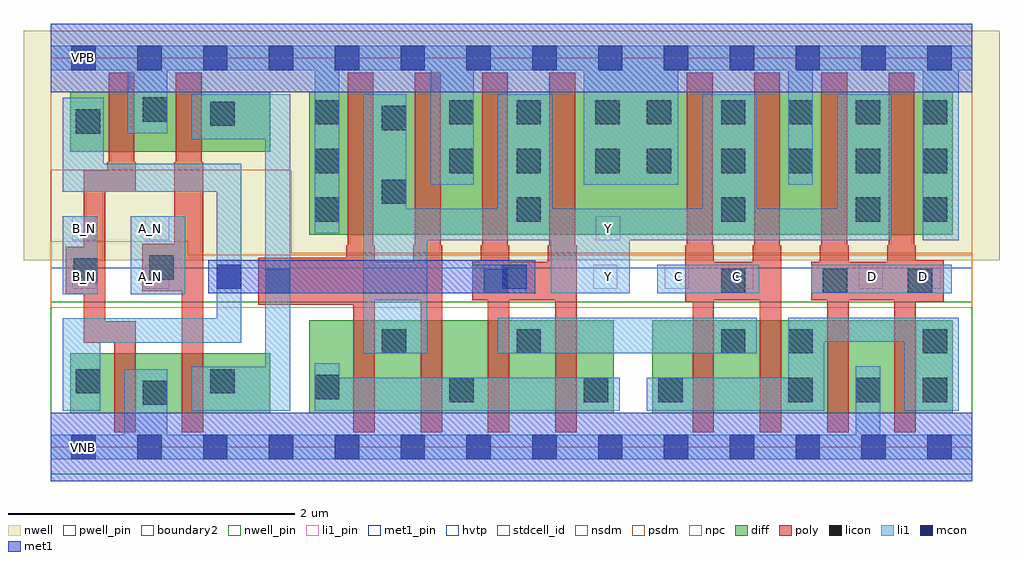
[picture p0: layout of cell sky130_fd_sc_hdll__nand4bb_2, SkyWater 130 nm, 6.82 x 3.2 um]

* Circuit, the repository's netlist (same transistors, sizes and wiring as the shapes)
* Copyright 2020 The SkyWater PDK Authors
*
* Licensed under the Apache License, Version 2.0 (the "License");
* you may not use this file except in compliance with the License.
* You may obtain a copy of the License at
*
*     https://www.apache.org/licenses/LICENSE-2.0
*
* Unless required by applicable law or agreed to in writing, software
* distributed under the License is distributed on an "AS IS" BASIS,
* WITHOUT WARRANTIES OR CONDITIONS OF ANY KIND, either express or implied.
* See the License for the specific language governing permissions and
* limitations under the License.
*
* SPDX-License-Identifier: Apache-2.0

.SUBCKT sky130_fd_sc_hdll__nand4bb_2 A_N B_N C D VGND VNB VPB VPWR Y
*.PININFO A_N:I B_N:I C:I D:I VGND:I VNB:I VPB:I VPWR:I Y:O
MMP0 Y A VPWR VPB sky130_fd_pr__pfet_01v8_hvt m=2 w=1.0U l=0.18U mult=1 sa=0.265
+ sb=0.265 sd=0.28 area=0.063 perim=1.14
MMP1 Y B VPWR VPB sky130_fd_pr__pfet_01v8_hvt m=2 w=1.0U l=0.18U mult=1 sa=0.265
+ sb=0.265 sd=0.28 area=0.063 perim=1.14
MMP2 Y C VPWR VPB sky130_fd_pr__pfet_01v8_hvt m=2 w=1.0U l=0.18U mult=1 sa=0.265
+ sb=0.265 sd=0.28 area=0.063 perim=1.14
MMP3 Y D VPWR VPB sky130_fd_pr__pfet_01v8_hvt m=2 w=1.0U l=0.18U mult=1 sa=0.265
+ sb=0.265 sd=0.28 area=0.063 perim=1.14
MMIP0 A A_N VPWR VPB sky130_fd_pr__pfet_01v8_hvt m=1 w=0.42U l=0.18U mult=1 sa=0.265
+ sb=0.265 sd=0.28 area=0.063 perim=1.14
MMIP1 B B_N VPWR VPB sky130_fd_pr__pfet_01v8_hvt m=1 w=0.42U l=0.18U mult=1 sa=0.265
+ sb=0.265 sd=0.28 area=0.063 perim=1.14
MMN0 Y A sndA VNB sky130_fd_pr__nfet_01v8 m=2 w=0.65U l=0.15U mult=1 sa=0.265 sb=0.265
+ sd=0.28 area=0.063 perim=1.14
MMN1 sndA B sndB VNB sky130_fd_pr__nfet_01v8 m=2 w=0.65U l=0.15U mult=1 sa=0.265
+ sb=0.265 sd=0.28 area=0.063 perim=1.14
MMN2 sndB C sndC VNB sky130_fd_pr__nfet_01v8 m=2 w=0.65U l=0.15U mult=1 sa=0.265
+ sb=0.265 sd=0.28 area=0.063 perim=1.14
MMN3 sndC D VGND VNB sky130_fd_pr__nfet_01v8 m=2 w=0.65U l=0.15U mult=1 sa=0.265
+ sb=0.265 sd=0.28 area=0.063 perim=1.14
MMIN0 A A_N VGND VNB sky130_fd_pr__nfet_01v8 m=1 w=0.42U l=0.15U mult=1 sa=0.265
+ sb=0.265 sd=0.28 area=0.063 perim=1.14
MMIN1 B B_N VGND VNB sky130_fd_pr__nfet_01v8 m=1 w=0.42U l=0.15U mult=1 sa=0.265
+ sb=0.265 sd=0.28 area=0.063 perim=1.14
.ENDS sky130_fd_sc_hdll__nand4bb_2

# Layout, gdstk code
import gdstk
lib = gdstk.Library(unit=1e-6, precision=1e-09)
def R(c, l, rs):  # rectangles x0, y0, x1, y1
    for r in rs: c.add(gdstk.rectangle(r[:2], r[2:], *l))
def A(c, l, x, y, w, h, nx, ny, dx, dy):  # array of equal rectangles
    R(c, l, [(x+i*dx, y+j*dy, x+i*dx+w, y+j*dy+h) for i in range(nx) for j in range(ny)])
def P(c, l, *ps):  # polygons
    for p in ps: c.add(gdstk.Polygon(p, *l))
nwell_pin = (64, 16)
nwell = (64, 20)
diff = (65, 20)
poly = (66, 20)
licon = (66, 44)
li1_pin = (67, 16)
li1 = (67, 20)
mcon = (67, 44)
met1_pin = (68, 16)
met1 = (68, 20)
hvtp = (78, 44)
stdcell_id = (81, 4)
nsdm = (93, 44)
psdm = (94, 20)
npc = (95, 20)
pwell_pin = (122, 16)
boundary2 = (236, 0)

sky130_fd_sc_hdll__nand4 = lib.new_cell('sky130_fd_sc_hdll__nand4bb_2')
R(sky130_fd_sc_hdll__nand4, nwell_pin, [(0.145,2.635,0.315,2.805)])
R(sky130_fd_sc_hdll__nand4, nwell, [(-0.19,1.305,6.63,2.91)])
R(sky130_fd_sc_hdll__nand4, diff, [(0.135,0.235,1.535,0.655), (1.805,0.235,3.935,0.885), (4.205,0.235,6.305,0.885), (1.805,1.485,6.305,2.485), (0.135,2.065,1.535,2.485)])
P(sky130_fd_sc_hdll__nand4, poly, [(0.595,1.99),(0.585,1.99),(0.585,2.615),(0.405,2.615),(0.405,1.99),(0.395,1.99),(0.395,1.935),(0.23,1.935),(0.23,1.4),(0.105,1.4),(0.105,1.07),(0.23,1.07),(0.23,0.73),(0.445,0.73),(0.445,0.105),(0.595,0.105),(0.595,0.88),(0.38,0.88),(0.38,1.785),(0.595,1.785)],
  [(1.065,1.99),(1.055,1.99),(1.055,2.615),(0.875,2.615),(0.875,1.99),(0.865,1.99),(0.865,1.42),(0.64,1.42),(0.64,1.09),(0.915,1.09),(0.915,0.105),(1.065,0.105)],
  [(2.735,1.41),(2.725,1.41),(2.725,2.615),(2.545,2.615),(2.545,1.41),(2.535,1.41),(2.535,1.295),(2.265,1.295),(2.265,1.41),(2.255,1.41),(2.255,2.615),(2.075,2.615),(2.075,1.41),(2.065,1.41),(2.065,1.325),(1.45,1.325),(1.45,0.995),(2.115,0.995),(2.115,0.105),(2.265,0.105),(2.265,1.025),(2.585,1.025),(2.585,0.105),(2.735,0.105)],
  [(3.675,1.41),(3.665,1.41),(3.665,2.615),(3.485,2.615),(3.485,1.41),(3.475,1.41),(3.475,1.295),(3.205,1.295),(3.205,1.41),(3.195,1.41),(3.195,2.615),(3.015,2.615),(3.015,1.41),(3.005,1.41),(3.005,1.295),(2.945,1.295),(2.945,1.025),(3.055,1.025),(3.055,0.105),(3.205,0.105),(3.205,1.025),(3.525,1.025),(3.525,0.105),(3.675,0.105)],
  [(5.105,1.41),(5.095,1.41),(5.095,2.615),(4.915,2.615),(4.915,1.41),(4.905,1.41),(4.905,1.295),(4.635,1.295),(4.635,1.41),(4.625,1.41),(4.625,2.615),(4.445,2.615),(4.445,1.41),(4.435,1.41),(4.435,1.015),(4.485,1.015),(4.485,0.105),(4.635,0.105),(4.635,1.025),(4.955,1.025),(4.955,0.105),(5.105,0.105)],
  [(6.24,1.305),(6.045,1.305),(6.045,1.41),(6.035,1.41),(6.035,2.615),(5.855,2.615),(5.855,1.41),(5.845,1.41),(5.845,1.295),(5.575,1.295),(5.575,1.41),(5.565,1.41),(5.565,2.615),(5.385,2.615),(5.385,1.41),(5.375,1.41),(5.375,1.295),(5.315,1.295),(5.315,1.025),(5.425,1.025),(5.425,0.105),(5.575,0.105),(5.575,1.025),(5.895,1.025),(5.895,0.105),(6.045,0.105),(6.045,1.015),(6.24,1.015)])
A(sky130_fd_sc_hdll__nand4, licon, 5.155, 0.315, 0.17, 0.17, 3, 1, 0.47, 0)
A(sky130_fd_sc_hdll__nand4, licon, 1.845, 1.575, 0.17, 0.17, 1, 3, 0, 0.34)
A(sky130_fd_sc_hdll__nand4, licon, 3.255, 1.575, 0.17, 0.17, 1, 3, 0, 0.34)
A(sky130_fd_sc_hdll__nand4, licon, 4.685, 1.915, 0.17, 0.17, 4, 2, 0.47, 0.34)
R(sky130_fd_sc_hdll__nand4, licon, [(0.645,0.295,0.815,0.465), (2.785,0.315,2.955,0.485), (3.725,0.315,3.895,0.485), (4.245,0.315,4.415,0.485), (1.845,0.335,2.015,0.505), (0.175,0.375,0.345,0.545), (1.115,0.375,1.285,0.545), (2.315,0.655,2.485,0.825), (3.255,0.655,3.425,0.825), (4.685,0.655,4.855,0.825), (5.155,0.655,5.325,0.825), (6.095,0.655,6.265,0.825), (1.5,1.075,1.67,1.245), (3.025,1.075,3.195,1.245), (4.685,1.075,4.855,1.245), (5.395,1.075,5.565,1.245), (5.99,1.075,6.16,1.245), (0.16,1.15,0.33,1.32), (0.69,1.17,0.86,1.34), (4.685,1.575,4.855,1.745), (5.625,1.575,5.795,1.745), (6.095,1.575,6.265,1.745), (2.315,1.7,2.485,1.87), (2.785,1.915,2.955,2.085), (3.805,1.915,3.975,2.085), (4.165,1.915,4.335,2.085), (0.175,2.19,0.345,2.36), (2.315,2.215,2.485,2.385), (1.115,2.245,1.285,2.415), (2.785,2.255,2.955,2.425), (3.805,2.255,3.975,2.425), (4.165,2.255,4.335,2.425), (0.645,2.275,0.815,2.445)])
R(sky130_fd_sc_hdll__nand4, li1_pin, [(0.15,1.105,0.32,1.275), (0.66,1.105,0.83,1.275), (3.79,1.105,3.96,1.275), (4.29,1.105,4.46,1.275), (4.74,1.105,4.91,1.275), (5.645,1.105,5.815,1.275), (6.05,1.105,6.22,1.275), (0.15,1.445,0.32,1.615), (0.66,1.445,0.83,1.615), (3.81,1.445,3.98,1.615)])
R(sky130_fd_sc_hdll__nand4, li1, [(3.125,0.655,4.935,0.905), (0.085,1.07,0.33,1.615), (0.56,1.07,0.94,1.615), (2.945,1.075,3.325,1.275), (4.24,1.075,4.95,1.275), (5.315,1.075,6.295,1.275)])
P(sky130_fd_sc_hdll__nand4, li1, [(5.875,2.465),(5.495,2.465),(5.495,1.665),(4.935,1.665),(4.935,2.465),(4.555,2.465),(4.555,1.665),(3.505,1.665),(3.505,2.465),(3.125,2.465),(3.125,1.665),(2.485,1.665),(2.485,2.465),(2.185,2.465),(2.185,0.655),(2.63,0.655),(2.63,1.445),(3.495,1.445),(3.495,1.075),(4.045,1.075),(4.045,1.445),(5.875,1.445)],
  [(6.345,0.905),(5.155,0.905),(5.155,0.485),(4.165,0.485),(4.165,0.255),(5.405,0.255),(5.405,0.735),(5.965,0.735),(5.965,0.255),(6.345,0.255)],
  [(6.44,2.805),(0,2.805),(0,2.635),(0.54,2.635),(0.54,2.195),(0.815,2.195),(0.815,2.635),(1.845,2.635),(1.845,1.495),(2.015,1.495),(2.015,2.635),(2.655,2.635),(2.655,1.835),(2.955,1.835),(2.955,2.635),(3.725,2.635),(3.725,1.835),(4.385,1.835),(4.385,2.635),(5.155,2.635),(5.155,1.835),(5.325,1.835),(5.325,2.635),(6.095,2.635),(6.095,1.445),(6.345,1.445),(6.345,2.635),(6.44,2.635)],
  [(1.33,1.98),(0.37,1.98),(0.37,2.44),(0.085,2.44),(0.085,1.785),(1.16,1.785),(1.16,0.9),(0.085,0.9),(0.085,0.255),(0.345,0.255),(0.345,0.73),(1.33,0.73)],
  [(3.975,0.485),(2.015,0.485),(2.015,0.585),(1.845,0.585),(1.845,0.255),(3.975,0.255)],
  [(1.675,2.465),(0.985,2.465),(0.985,2.15),(1.5,2.15),(1.5,0.56),(0.985,0.56),(0.985,0.255),(1.675,0.255)],
  [(6.44,0.085),(5.795,0.085),(5.795,0.565),(5.625,0.565),(5.625,0.085),(0.815,0.085),(0.815,0.545),(0.515,0.545),(0.515,0.085),(0,0.085),(0,-0.085),(6.44,-0.085)])
A(sky130_fd_sc_hdll__nand4, mcon, 0.145, -0.085, 0.17, 0.17, 14, 2, 0.46, 2.72)
R(sky130_fd_sc_hdll__nand4, mcon, [(1.16,1.105,1.33,1.275), (3.155,1.105,3.325,1.275)])
R(sky130_fd_sc_hdll__nand4, met1_pin, [(0.145,-0.085,0.315,0.085), (0.145,2.635,0.315,2.805)])
R(sky130_fd_sc_hdll__nand4, met1, [(0,-0.24,6.44,0.24), (1.1,1.075,3.385,1.305), (0,2.48,6.44,2.96)])
R(sky130_fd_sc_hdll__nand4, hvtp, [(0,1.25,6.44,2.72)])
R(sky130_fd_sc_hdll__nand4, stdcell_id, [(0,0,6.44,2.72)])
R(sky130_fd_sc_hdll__nand4, nsdm, [(0,-0.19,6.44,1.015)])
P(sky130_fd_sc_hdll__nand4, psdm, [(6.44,2.91),(0,2.91),(0,1.935),(1.68,1.935),(1.68,1.355),(6.44,1.355)])
P(sky130_fd_sc_hdll__nand4, npc, [(6.44,1.345),(0.96,1.345),(0.96,1.44),(0,1.44),(0,0.975),(6.44,0.975)])
R(sky130_fd_sc_hdll__nand4, pwell_pin, [(0.145,-0.085,0.315,0.085)])
R(sky130_fd_sc_hdll__nand4, boundary2, [(0,0,6.44,2.72)])
sky130_fd_sc_hdll__nand4.add(gdstk.Label('D', (5.74,1.19), layer=67, texttype=5))
sky130_fd_sc_hdll__nand4.add(gdstk.Label('D', (6.1,1.19), layer=67, texttype=5))
sky130_fd_sc_hdll__nand4.add(gdstk.Label('C', (4.795,1.19), layer=67, texttype=5))
sky130_fd_sc_hdll__nand4.add(gdstk.Label('B_N', (0.235,1.53), layer=67, texttype=5))
sky130_fd_sc_hdll__nand4.add(gdstk.Label('B_N', (0.235,1.19), layer=67, texttype=5))
sky130_fd_sc_hdll__nand4.add(gdstk.Label('A_N', (0.695,1.53), layer=67, texttype=5))
sky130_fd_sc_hdll__nand4.add(gdstk.Label('A_N', (0.695,1.19), layer=67, texttype=5))
sky130_fd_sc_hdll__nand4.add(gdstk.Label('Y', (3.895,1.53), layer=67, texttype=5))
sky130_fd_sc_hdll__nand4.add(gdstk.Label('Y', (3.895,1.19), layer=67, texttype=5))
sky130_fd_sc_hdll__nand4.add(gdstk.Label('C', (4.39,1.19), layer=67, texttype=5))
sky130_fd_sc_hdll__nand4.add(gdstk.Label('VNB', (0.23,0), layer=64, texttype=59))
sky130_fd_sc_hdll__nand4.add(gdstk.Label('VPB', (0.23,2.72), layer=64, texttype=5))
sky130_fd_sc_hdll__nand4.add(gdstk.Label('VGND', (0.23,0), layer=68, texttype=5))
sky130_fd_sc_hdll__nand4.add(gdstk.Label('VPWR', (0.23,2.72), layer=68, texttype=5))
sky130_fd_sc_hdll__nand4.add(gdstk.Label('nand4bb_2', (0,0), layer=83, texttype=44))

lib.write_gds('sky130_fd_sc_hdll__nand4bb_2.gds')
